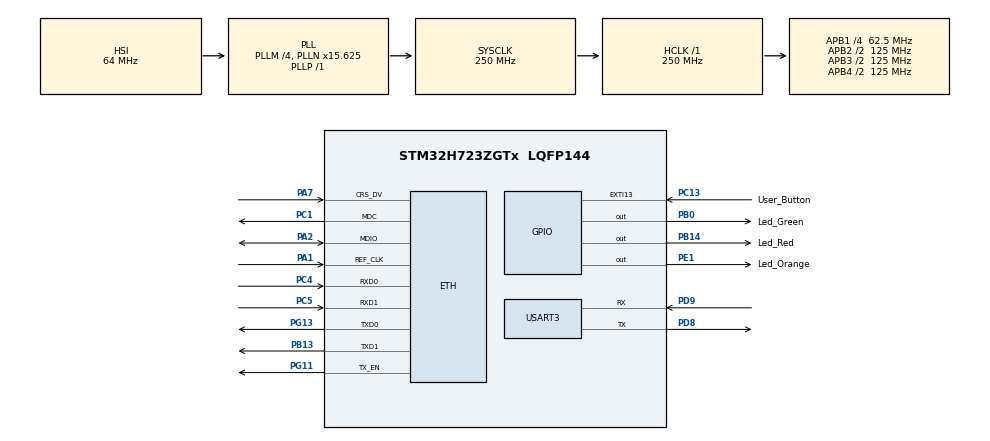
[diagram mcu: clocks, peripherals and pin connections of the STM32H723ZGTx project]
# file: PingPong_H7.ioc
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ETH.MediaInterface=HAL_ETH_RMII_MODE
Mcu.Family=STM32H7
Mcu.Name=STM32H723ZGTx
Mcu.Package=LQFP144
NVIC.ETH_IRQn=true\:0\:0\:false\:false\:true\:true\:true\:true
NVIC.EXTI15_10_IRQn=true\:0\:0\:false\:false\:true\:true\:true\:true
NVIC.PriorityGroup=NVIC_PRIORITYGROUP_4
PA1.Mode=RMII
PA1.Signal=ETH_REF_CLK
PA2.Mode=RMII
PA2.Signal=ETH_MDIO
PA7.Mode=RMII
PA7.Signal=ETH_CRS_DV
PB0.GPIO_Label=Led_Green
PB0.Signal=GPIO_Output
PB13.Mode=RMII
PB13.Signal=ETH_TXD1
PB14.GPIO_Label=Led_Red
PB14.Signal=GPIO_Output
PC1.Mode=RMII
PC1.Signal=ETH_MDC
PC13.GPIO_Label=User_Button
PC13.Signal=GPXTI13
PC4.Mode=RMII
PC4.Signal=ETH_RXD0
PC5.Mode=RMII
PC5.Signal=ETH_RXD1
PD8.Mode=Asynchronous
PD8.Signal=USART3_TX
PD9.Mode=Asynchronous
PD9.Signal=USART3_RX
PE1.GPIO_Label=Led_Orange
PE1.Signal=GPIO_Output
PG11.Mode=RMII
PG11.Signal=ETH_TX_EN
PG13.Mode=RMII
PG13.Signal=ETH_TXD0
PH0-OSC_IN.Mode=HSE-External-Clock-Source
PH0-OSC_IN.Signal=RCC_OSC_IN
ProjectManager.HeapSize=0x2000
ProjectManager.StackSize=0x4000
ProjectManager.TargetToolchain=STM32CubeIDE
RCC.ADCFreq_Value=608000000
RCC.APB1Freq_Value=62500000
RCC.APB2Freq_Value=125000000
RCC.APB3Freq_Value=125000000
RCC.APB4Freq_Value=125000000
RCC.CortexFreq_Value=250000000
RCC.D1PPRE=RCC_APB3_DIV2
RCC.D2PPRE1=RCC_APB1_DIV4
RCC.D2PPRE2=RCC_APB2_DIV2
RCC.D3PPRE=RCC_APB4_DIV2
RCC.DIVM1=4
RCC.DIVM2=1
RCC.DIVN1=15
RCC.DIVN2=19
RCC.DIVP1=1
RCC.DIVQ1=4
RCC.HCLKFreq_Value=250000000
RCC.HSE_VALUE=8000000
RCC.PLLFRACN=5120
RCC.SYSCLKFreq_VALUE=250000000
RCC.SYSCLKSource=RCC_SYSCLKSOURCE_PLLCLK
RCC.USBCLockSelection=RCC_USBCLKSOURCE_HSI48
RCC.USBFreq_Value=48000000
USART3.VirtualMode-Asynchronous=VM_ASYNC
board=NUCLEO-H723ZG

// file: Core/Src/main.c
/* USER CODE BEGIN Header */
/**
  ******************************************************************************
  * @file           : main.c
  * @brief          : Main program body
  ******************************************************************************
  * @attention
  *
  * Copyright (c) 2024 STMicroelectronics.
  * All rights reserved.
  *
  * This software is licensed under terms that can be found in the LICENSE file
  * in the root directory of this software component.
  * If no LICENSE file comes with this software, it is provided AS-IS.
  *
  ******************************************************************************
  */
/* USER CODE END Header */
#include "main.h"
#include "string.h"

/* USER CODE BEGIN Includes */
#include "lan8742.h"
#include <stdlib.h>
#include <stdio.h>
/* USER CODE END Includes */

/* USER CODE BEGIN PTD */
typedef struct {
    ETH_BufferTypeDef *AppBuff;
    uint8_t buffer[100]__ALIGNED(32);
} ETH_AppBuff;

typedef struct {
    uint8_t dest_mac[6];
    uint8_t src_mac[6];
    uint8_t type[2];
    uint8_t payload[100];
} ethernet_frame_t;
/* USER CODE END PTD */

/* USER CODE BEGIN PD */
#ifdef __GNUC__
#define PUTCHAR_PROTOTYPE int __io_putchar(int ch)
#else
#define PUTCHAR_PROTOTYPE int fputc(int ch, FILE *f)
#endif
/* USER CODE END PD */

#if defined ( __ICCARM__ ) /*!< IAR Compiler */
#pragma location=0x30000000
ETH_DMADescTypeDef  DMARxDscrTab[ETH_RX_DESC_CNT]; /* Ethernet Rx DMA Descriptors */
#pragma location=0x30000200
ETH_DMADescTypeDef  DMATxDscrTab[ETH_TX_DESC_CNT]; /* Ethernet Tx DMA Descriptors */

#elif defined ( __CC_ARM )  /* MDK ARM Compiler */

__attribute__((at(0x30000000))) ETH_DMADescTypeDef  DMARxDscrTab[ETH_RX_DESC_CNT]; /* Ethernet Rx DMA Descriptors */
__attribute__((at(0x30000200))) ETH_DMADescTypeDef  DMATxDscrTab[ETH_TX_DESC_CNT]; /* Ethernet Tx DMA Descriptors */

#elif defined ( __GNUC__ ) /* GNU Compiler */

ETH_DMADescTypeDef DMARxDscrTab[ETH_RX_DESC_CNT] __attribute__((section(".RxDecripSection"))); /* Ethernet Rx DMA Descriptors */
ETH_DMADescTypeDef DMATxDscrTab[ETH_TX_DESC_CNT] __attribute__((section(".TxDecripSection")));   /* Ethernet Tx DMA Descriptors */
#endif

ETH_TxPacketConfig TxConfig;

ETH_HandleTypeDef heth;

UART_HandleTypeDef huart3;

void SystemClock_Config(void);
static void MX_GPIO_Init(void);
static void MX_ETH_Init(void);
static void MX_USART3_UART_Init(void);
/* USER CODE BEGIN PFP */
int32_t ETH_PHY_INTERFACE_Init(void);
int32_t ETH_PHY_INTERFACE_DeInit (void);
int32_t ETH_PHY_INTERFACE_ReadReg(uint32_t DevAddr, uint32_t RegAddr, uint32_t *pRegVal);
int32_t ETH_PHY_INTERFACE_WriteReg(uint32_t DevAddr, uint32_t RegAddr, uint32_t RegVal);
int32_t ETH_PHY_INTERFACE_GetTick(void);
void ETH_StartLink();
void ETH_ConstructEthernetFrame(ethernet_frame_t *frame, uint8_t *dest_mac,
								uint8_t *src_mac, uint8_t *type, uint8_t *payload,
								uint16_t payload_len);
/* USER CODE END PFP */

/* USER CODE BEGIN 0 */
lan8742_Object_t LAN8742;
lan8742_IOCtx_t  LAN8742_IOCtx = {ETH_PHY_INTERFACE_Init,
                                  ETH_PHY_INTERFACE_DeInit,
                                  ETH_PHY_INTERFACE_WriteReg,
                                  ETH_PHY_INTERFACE_ReadReg,
                                  ETH_PHY_INTERFACE_GetTick};
static int inc = 0;
ETH_BufferTypeDef *frame_Rx=NULL;
/* USER CODE END 0 */

int main(void)
{

  /* USER CODE BEGIN 1 */
  ETH_BufferTypeDef TxBuffer;
  ethernet_frame_t frame;
  uint8_t dest_mac[] = {0x00, 0x80, 0xE1, 0x00, 0x00, 0x10};
  uint8_t src_mac[] =  {0x00, 0x80, 0xE1, 0x00, 0x00, 0x00};
  uint8_t type[] = 	 {0x08, 0x00};
  uint8_t payload[] =  {0x41, 0x68, 0x6c, 0x61, 0x2c, 0x20, 0x57, 0x65, 0x6e, 0x74, 0x69, 0x3f};
  uint16_t payload_len = sizeof(payload);
  /* USER CODE END 1 */

  /* MCU Configuration--------------------------------------------------------*/

  /* Reset of all peripherals, Initializes the Flash interface and the Systick. */
  HAL_Init();

  /* Configure the system clock */
  SystemClock_Config();

  /* Initialize all configured peripherals */
  MX_GPIO_Init();
  MX_ETH_Init();
  MX_USART3_UART_Init();
  /* USER CODE BEGIN 2 */
  printf("Program started!\n\r");
  fflush(0);

  ETH_ConstructEthernetFrame(&frame, dest_mac, src_mac, type, payload, payload_len);
  TxBuffer.buffer = (uint8_t *)&frame;
  TxBuffer.len = sizeof(dest_mac) + sizeof(src_mac) + sizeof(type) + payload_len;
  TxBuffer.next = NULL;
  TxConfig.TxBuffer = &TxBuffer;
  /* USER CODE END 2 */

  /* Infinite loop */
  while (1)
  {

  }
}

void SystemClock_Config(void)
{
  RCC_OscInitTypeDef RCC_OscInitStruct = {0};
  RCC_ClkInitTypeDef RCC_ClkInitStruct = {0};

  /** Supply configuration update enable
  */
  HAL_PWREx_ConfigSupply(PWR_LDO_SUPPLY);

  /** Configure the main internal regulator output voltage
  */
  __HAL_PWR_VOLTAGESCALING_CONFIG(PWR_REGULATOR_VOLTAGE_SCALE2);

  while(!__HAL_PWR_GET_FLAG(PWR_FLAG_VOSRDY)) {}

  /** Initializes the RCC Oscillators according to the specified parameters
  * in the RCC_OscInitTypeDef structure.
  */
  RCC_OscInitStruct.OscillatorType = RCC_OSCILLATORTYPE_HSI;
  RCC_OscInitStruct.HSIState = RCC_HSI_DIV1;
  RCC_OscInitStruct.HSICalibrationValue = 64;
  RCC_OscInitStruct.PLL.PLLState = RCC_PLL_ON;
  RCC_OscInitStruct.PLL.PLLSource = RCC_PLLSOURCE_HSI;
  RCC_OscInitStruct.PLL.PLLM = 4;
  RCC_OscInitStruct.PLL.PLLN = 15;
  RCC_OscInitStruct.PLL.PLLP = 1;
  RCC_OscInitStruct.PLL.PLLQ = 4;
  RCC_OscInitStruct.PLL.PLLR = 2;
  RCC_OscInitStruct.PLL.PLLRGE = RCC_PLL1VCIRANGE_3;
  RCC_OscInitStruct.PLL.PLLVCOSEL = RCC_PLL1VCOWIDE;
  RCC_OscInitStruct.PLL.PLLFRACN = 5120;
  if (HAL_RCC_OscConfig(&RCC_OscInitStruct) != HAL_OK)
  {
    Error_Handler();
  }

  /** Initializes the CPU, AHB and APB buses clocks
  */
  RCC_ClkInitStruct.ClockType = RCC_CLOCKTYPE_HCLK|RCC_CLOCKTYPE_SYSCLK
                              |RCC_CLOCKTYPE_PCLK1|RCC_CLOCKTYPE_PCLK2
                              |RCC_CLOCKTYPE_D3PCLK1|RCC_CLOCKTYPE_D1PCLK1;
  RCC_ClkInitStruct.SYSCLKSource = RCC_SYSCLKSOURCE_PLLCLK;
  RCC_ClkInitStruct.SYSCLKDivider = RCC_SYSCLK_DIV1;
  RCC_ClkInitStruct.AHBCLKDivider = RCC_HCLK_DIV1;
  RCC_ClkInitStruct.APB3CLKDivider = RCC_APB3_DIV2;
  RCC_ClkInitStruct.APB1CLKDivider = RCC_APB1_DIV4;
  RCC_ClkInitStruct.APB2CLKDivider = RCC_APB2_DIV2;
  RCC_ClkInitStruct.APB4CLKDivider = RCC_APB4_DIV2;

  if (HAL_RCC_ClockConfig(&RCC_ClkInitStruct, FLASH_LATENCY_2) != HAL_OK)
  {
    Error_Handler();
  }
}

static void MX_ETH_Init(void)
{

   static uint8_t MACAddr[6];

  heth.Instance = ETH;
  MACAddr[0] = 0x00;
  MACAddr[1] = 0x80;
  MACAddr[2] = 0xE1;
  MACAddr[3] = 0x00;
  MACAddr[4] = 0x00;
  MACAddr[5] = 0x00;
  heth.Init.MACAddr = &MACAddr[0];
  heth.Init.MediaInterface = HAL_ETH_RMII_MODE;
  heth.Init.TxDesc = DMATxDscrTab;
  heth.Init.RxDesc = DMARxDscrTab;
  heth.Init.RxBuffLen = 100;

  if (HAL_ETH_Init(&heth) != HAL_OK)
  {
    Error_Handler();
  }

  memset(&TxConfig, 0 , sizeof(ETH_TxPacketConfig));
  TxConfig.Attributes = ETH_TX_PACKETS_FEATURES_CSUM | ETH_TX_PACKETS_FEATURES_CRCPAD;
  TxConfig.ChecksumCtrl = ETH_CHECKSUM_IPHDR_PAYLOAD_INSERT_PHDR_CALC;
  TxConfig.CRCPadCtrl = ETH_CRC_PAD_INSERT;
  /* USER CODE BEGIN ETH_Init 2 */
  /* Set PHY IO functions */
  LAN8742_RegisterBusIO(&LAN8742, &LAN8742_IOCtx);

  /* Initialize the LAN8742 ETH PHY */
  LAN8742_Init(&LAN8742);

  /* Initialize link speed negotiation and start Ethernet peripheral */
  ETH_StartLink();
  /* USER CODE END ETH_Init 2 */

}

static void MX_USART3_UART_Init(void)
{

  huart3.Instance = USART3;
  huart3.Init.BaudRate = 115200;
  huart3.Init.WordLength = UART_WORDLENGTH_8B;
  huart3.Init.StopBits = UART_STOPBITS_1;
  huart3.Init.Parity = UART_PARITY_NONE;
  huart3.Init.Mode = UART_MODE_TX_RX;
  huart3.Init.HwFlowCtl = UART_HWCONTROL_NONE;
  huart3.Init.OverSampling = UART_OVERSAMPLING_16;
  huart3.Init.OneBitSampling = UART_ONE_BIT_SAMPLE_DISABLE;
  huart3.Init.ClockPrescaler = UART_PRESCALER_DIV1;
  huart3.AdvancedInit.AdvFeatureInit = UART_ADVFEATURE_NO_INIT;
  if (HAL_UART_Init(&huart3) != HAL_OK)
  {
    Error_Handler();
  }
  if (HAL_UARTEx_SetTxFifoThreshold(&huart3, UART_TXFIFO_THRESHOLD_1_8) != HAL_OK)
  {
    Error_Handler();
  }
  if (HAL_UARTEx_SetRxFifoThreshold(&huart3, UART_RXFIFO_THRESHOLD_1_8) != HAL_OK)
  {
    Error_Handler();
  }
  if (HAL_UARTEx_DisableFifoMode(&huart3) != HAL_OK)
  {
    Error_Handler();
  }

}

static void MX_GPIO_Init(void)
{
  GPIO_InitTypeDef GPIO_InitStruct = {0};

  /* GPIO Ports Clock Enable */
  __HAL_RCC_GPIOC_CLK_ENABLE();
  __HAL_RCC_GPIOH_CLK_ENABLE();
  __HAL_RCC_GPIOA_CLK_ENABLE();
  __HAL_RCC_GPIOB_CLK_ENABLE();
  __HAL_RCC_GPIOD_CLK_ENABLE();
  __HAL_RCC_GPIOG_CLK_ENABLE();
  __HAL_RCC_GPIOE_CLK_ENABLE();

  /*Configure GPIO pin Output Level */
  HAL_GPIO_WritePin(GPIOB, Led_Green_Pin|Led_Red_Pin, GPIO_PIN_RESET);

  /*Configure GPIO pin Output Level */
  HAL_GPIO_WritePin(Led_Orange_GPIO_Port, Led_Orange_Pin, GPIO_PIN_RESET);

  /*Configure GPIO pin : User_Button_Pin */
  GPIO_InitStruct.Pin = User_Button_Pin;
  GPIO_InitStruct.Mode = GPIO_MODE_IT_RISING;
  GPIO_InitStruct.Pull = GPIO_NOPULL;
  HAL_GPIO_Init(User_Button_GPIO_Port, &GPIO_InitStruct);

  /*Configure GPIO pins : Led_Green_Pin Led_Red_Pin */
  GPIO_InitStruct.Pin = Led_Green_Pin|Led_Red_Pin;
  GPIO_InitStruct.Mode = GPIO_MODE_OUTPUT_PP;
  GPIO_InitStruct.Pull = GPIO_NOPULL;
  GPIO_InitStruct.Speed = GPIO_SPEED_FREQ_LOW;
  HAL_GPIO_Init(GPIOB, &GPIO_InitStruct);

  /*Configure GPIO pin : Led_Orange_Pin */
  GPIO_InitStruct.Pin = Led_Orange_Pin;
  GPIO_InitStruct.Mode = GPIO_MODE_OUTPUT_PP;
  GPIO_InitStruct.Pull = GPIO_NOPULL;
  GPIO_InitStruct.Speed = GPIO_SPEED_FREQ_LOW;
  HAL_GPIO_Init(Led_Orange_GPIO_Port, &GPIO_InitStruct);

  /* EXTI interrupt init*/
  HAL_NVIC_SetPriority(EXTI15_10_IRQn, 0, 0);
  HAL_NVIC_EnableIRQ(EXTI15_10_IRQn);

}

/* USER CODE BEGIN 4 */
/*===============================PHY Functions===============================*/
int32_t ETH_PHY_INTERFACE_Init(void)
{
  /* Configure the MDIO Clock */
  HAL_ETH_SetMDIOClockRange(&heth);
  return 0;
}

int32_t ETH_PHY_INTERFACE_DeInit (void)
{
  return 0;
}

int32_t ETH_PHY_INTERFACE_ReadReg(uint32_t DevAddr, uint32_t RegAddr, uint32_t *pRegVal)
{
  if(HAL_ETH_ReadPHYRegister(&heth, DevAddr, RegAddr, pRegVal) != HAL_OK)
  {
    return -1;
  }

  return 0;
}
int32_t ETH_PHY_INTERFACE_WriteReg(uint32_t DevAddr, uint32_t RegAddr, uint32_t RegVal)
{
  if(HAL_ETH_WritePHYRegister(&heth, DevAddr, RegAddr, RegVal) != HAL_OK)
  {
    return -1;
  }

  return 0;
}

int32_t ETH_PHY_INTERFACE_GetTick(void)
{
  return HAL_GetTick();
}

/*===============================ETH Functions===============================*/

void ETH_StartLink()
{
  ETH_MACConfigTypeDef MACConf = {0};
  int32_t PHYLinkState = 0U;
  uint32_t linkchanged = 0U, speed = 0U, duplex =0U;

  PHYLinkState = LAN8742_GetLinkState(&LAN8742);

  if(PHYLinkState <= LAN8742_STATUS_LINK_DOWN)
  {
    HAL_ETH_Stop(&heth);
  }
  else if(PHYLinkState > LAN8742_STATUS_LINK_DOWN)
  {
    switch (PHYLinkState)
    {
    case LAN8742_STATUS_100MBITS_FULLDUPLEX:
      duplex = ETH_FULLDUPLEX_MODE;
      speed = ETH_SPEED_100M;
      linkchanged = 1;
      break;
    case LAN8742_STATUS_100MBITS_HALFDUPLEX:
      duplex = ETH_HALFDUPLEX_MODE;
      speed = ETH_SPEED_100M;
      linkchanged = 1;
      break;
    case LAN8742_STATUS_10MBITS_FULLDUPLEX:
      duplex = ETH_FULLDUPLEX_MODE;
      speed = ETH_SPEED_10M;
      linkchanged = 1;
      break;
    case LAN8742_STATUS_10MBITS_HALFDUPLEX:
      duplex = ETH_HALFDUPLEX_MODE;
      speed = ETH_SPEED_10M;
      linkchanged = 1;
      break;
    default:
      break;
    }

    if(linkchanged)
    {
      /* Get MAC Config MAC */
      HAL_ETH_GetMACConfig(&heth, &MACConf);
      MACConf.DuplexMode = duplex;
      MACConf.Speed = speed;
      MACConf.DropTCPIPChecksumErrorPacket = DISABLE; //changed
      MACConf.ForwardRxErrorPacket = ENABLE;   //FEP Bit
      MACConf.ForwardRxUndersizedGoodPacket = ENABLE; //FUP Bit
      MACConf.LoopbackMode= DISABLE;
      HAL_ETH_SetMACConfig(&heth, &MACConf);
      HAL_ETH_Start_IT(&heth);
    }
  }
}

void HAL_ETH_RxAllocateCallback(uint8_t **buff){

	  ETH_BufferTypeDef *p = malloc(100);
	  if (p)
	  {
            *buff = (uint8_t *)p + offsetof(ETH_AppBuff, buffer);

            p->next = NULL;
	    p->len = 100;
	  }
	  else
	  {
	    *buff = NULL;
	  }
}

void HAL_ETH_RxLinkCallback(void **pStart, void **pEnd, uint8_t *buff, uint16_t Length)
{
	ETH_BufferTypeDef **ppStart = (ETH_BufferTypeDef **)pStart;
	ETH_BufferTypeDef **ppEnd = (ETH_BufferTypeDef **)pEnd;
	ETH_BufferTypeDef *p = NULL;

	p = (ETH_BufferTypeDef *)(buff - offsetof(ETH_AppBuff, buffer));
    p->next = NULL;
	p->len = 100;

	/* Chain the buffer. */
	if (!*ppStart)
	{
	  /* The first buffer of the packet. */
	  *ppStart = p;
	}
	else
	{
	  /* Chain the buffer to the end of the packet. */
	  (*ppEnd)->next = p;
	}
	*ppEnd  = p;
}

void HAL_ETH_TxCpltCallback(ETH_HandleTypeDef *heth)
{
	HAL_ETH_ReadData(heth, (void **)&frame_Rx);
	printf("[%d] Packet Transmitted to H5!\r\n",++inc);
	fflush(0);
}
void HAL_ETH_RxCpltCallback(ETH_HandleTypeDef *heth)
{
	printf("[%d] Packet Received (H7)!\r\n",++inc);
	fflush(0);
    HAL_ETH_Transmit_IT(heth, &TxConfig);
    HAL_ETH_ReleaseTxPacket(heth);
}
int __io_putchar(int ch)
{
  /* Place your implementation of fputc here */
  /* e.g. write a character to the USART3 and Loop until the end of transmission */
  HAL_UART_Transmit(&huart3, (uint8_t *)&ch, 1, 0xFFFF);

  return ch;
}

void ETH_ConstructEthernetFrame(ethernet_frame_t *frame, uint8_t *dest_mac, uint8_t *src_mac, uint8_t *type, uint8_t *payload, uint16_t payload_len)
{
    // Copy the destination MAC address
    memcpy(frame->dest_mac, dest_mac, 6);
    // Copy the source MAC address
    memcpy(frame->src_mac, src_mac, 6);
    // Set the Ethernet type field
    memcpy(frame->type, type, 2);
    // Copy the payload data
    memcpy(frame->payload, payload, payload_len);
}

void HAL_GPIO_EXTI_Callback(uint16_t GPIO_Pin)
{
  if (GPIO_Pin == GPIO_PIN_13)
  {
      HAL_ETH_Transmit_IT(&heth, &TxConfig);
      HAL_ETH_ReleaseTxPacket(&heth);
  } else {
      __NOP();
  }
}

/* USER CODE END 4 */

void Error_Handler(void)
{
  __disable_irq();
  while (1)
  {
  }
}
